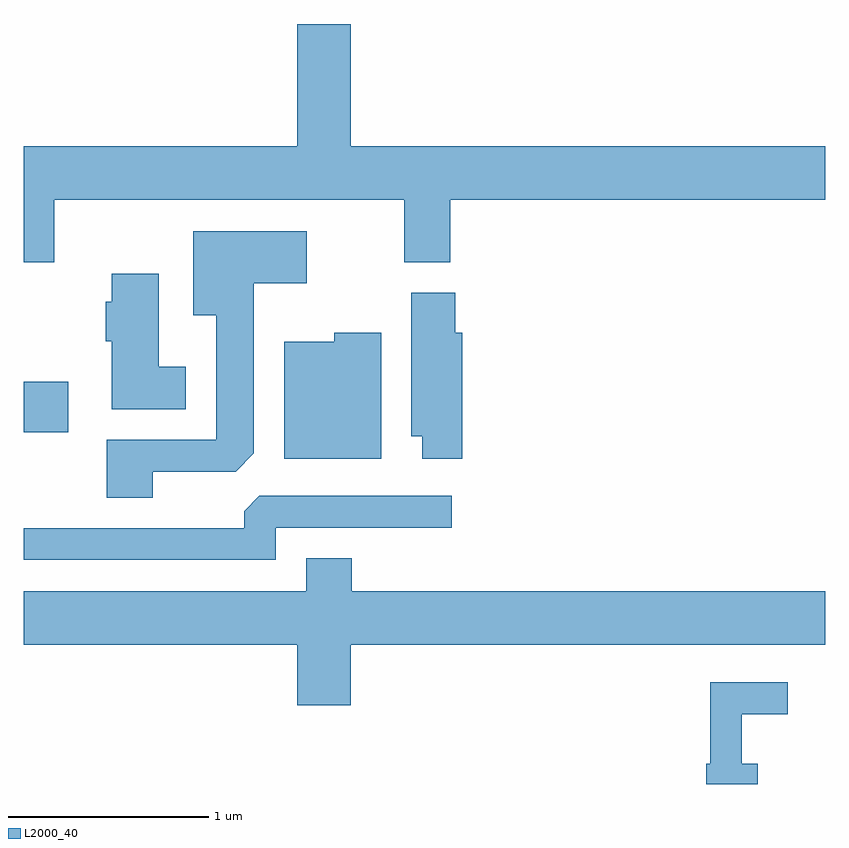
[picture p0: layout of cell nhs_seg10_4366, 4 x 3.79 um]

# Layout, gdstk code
import gdstk
lib = gdstk.Library(unit=1e-6, precision=1e-09)
def R(c, l, rs):  # rectangles x0, y0, x1, y1
    for r in rs: c.add(gdstk.rectangle(r[:2], r[2:], *l))
def P(c, l, *ps):  # polygons
    for p in ps: c.add(gdstk.Polygon(p, *l))
L2000_40 = (2000, 40)

nhs_seg10_4366 = lib.new_cell('nhs_seg10_4366')
R(nhs_seg10_4366, L2000_40, [(313.611,2148.276,313.834,2148.529)])
P(nhs_seg10_4366, L2000_40, [(313.764,2149.436),(315.511,2149.436),(315.511,2149.126),(315.739,2149.126),(315.739,2149.436),(317.611,2149.436),(317.611,2149.704),(315.244,2149.704),(315.244,2150.314),(314.976,2150.314),(314.976,2149.704),(313.611,2149.704),(313.611,2149.126),(313.764,2149.126)],
  [(314.254,2148.081),(314.669,2148.081),(314.759,2148.172),(314.759,2149.021),(315.024,2149.021),(315.024,2149.279),(314.456,2149.279),(314.456,2148.861),(314.571,2148.861),(314.571,2148.239),(314.026,2148.239),(314.026,2147.951),(314.254,2147.951)],
  [(314.419,2148.604),(314.284,2148.604),(314.284,2149.069),(314.051,2149.069),(314.051,2148.929),(314.021,2148.929),(314.021,2148.731),(314.051,2148.731),(314.051,2148.391),(314.419,2148.391)],
  [(315.799,2148.774),(315.764,2148.774),(315.764,2148.974),(315.546,2148.974),(315.546,2148.256),(315.601,2148.256),(315.601,2148.146),(315.799,2148.146)],
  [(315.394,2148.774),(315.161,2148.774),(315.161,2148.729),(314.911,2148.729),(314.911,2148.146),(315.394,2148.146)],
  [(314.869,2147.801),(315.748,2147.801),(315.748,2147.959),(314.787,2147.959),(314.711,2147.884),(314.711,2147.799),(313.611,2147.799),(313.611,2147.641),(314.869,2147.641)],
  [(315.244,2147.216),(317.611,2147.216),(317.611,2147.484),(315.249,2147.484),(315.249,2147.649),(315.021,2147.649),(315.021,2147.484),(313.611,2147.484),(313.611,2147.216),(314.976,2147.216),(314.976,2146.916),(315.244,2146.916)],
  [(317.274,2146.624),(317.194,2146.624),(317.194,2146.871),(317.423,2146.871),(317.423,2147.029),(317.036,2147.029),(317.036,2146.624),(317.016,2146.624),(317.016,2146.522),(317.274,2146.522)])

lib.write_gds('nhs_seg10_4366.gds')
